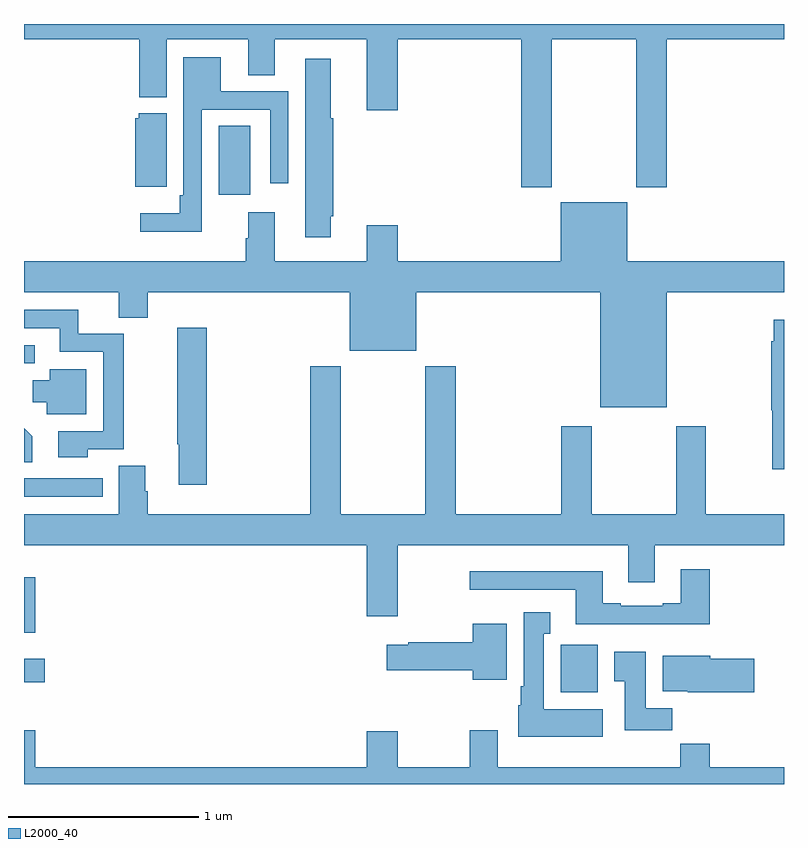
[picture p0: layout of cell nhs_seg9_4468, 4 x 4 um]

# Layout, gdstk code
import gdstk
lib = gdstk.Library(unit=1e-6, precision=1e-09)
def R(c, l, rs):  # rectangles x0, y0, x1, y1
    for r in rs: c.add(gdstk.rectangle(r[:2], r[2:], *l))
def P(c, l, *ps):  # polygons
    for p in ps: c.add(gdstk.Polygon(p, *l))
L2000_40 = (2000, 40)

nhs_seg9_4468 = lib.new_cell('nhs_seg9_4468')
R(nhs_seg9_4468, L2000_40, [(369.825,1192.982,370.021,1193.232), (367,1193.036,367.108,1193.158), (367,1193.297,367.058,1193.587), (367,1194.012,367.414,1194.108), (367,1194.714,367.057,1194.81), (368.024,1195.602,368.191,1195.964)])
P(nhs_seg9_4468, L2000_40, [(369.777,1196.42),(370.222,1196.42),(370.222,1195.641),(370.382,1195.641),(370.382,1196.42),(371,1196.42),(371,1196.5),(367,1196.5),(367,1196.42),(367.607,1196.42),(367.607,1196.114),(367.75,1196.114),(367.75,1196.42),(368.18,1196.42),(368.18,1196.23),(368.32,1196.23),(368.32,1196.42),(368.804,1196.42),(368.804,1196.046),(368.968,1196.046),(368.968,1196.42),(369.617,1196.42),(369.617,1195.641),(369.777,1195.641)],
  [(367.935,1196.049),(368.295,1196.049),(368.295,1195.662),(368.391,1195.662),(368.391,1196.145),(368.035,1196.145),(368.035,1196.326),(367.839,1196.326),(367.839,1195.6),(367.819,1195.6),(367.819,1195.504),(367.611,1195.504),(367.611,1195.406),(367.935,1195.406)],
  [(368.614,1195.489),(368.627,1195.489),(368.627,1196.004),(368.614,1196.004),(368.614,1196.317),(368.48,1196.317),(368.48,1195.377),(368.614,1195.377)],
  [(367.75,1196.029),(367.605,1196.029),(367.605,1196.004),(367.586,1196.004),(367.586,1195.643),(367.75,1195.643)],
  [(370.384,1195.088),(371,1195.088),(371,1195.252),(370.174,1195.252),(370.174,1195.561),(369.824,1195.561),(369.824,1195.252),(368.968,1195.252),(368.968,1195.441),(368.804,1195.441),(368.804,1195.252),(368.32,1195.252),(368.32,1195.51),(368.18,1195.51),(368.18,1195.373),(368.168,1195.373),(368.168,1195.252),(367,1195.252),(367,1195.088),(367.499,1195.088),(367.499,1194.955),(367.652,1194.955),(367.652,1195.088),(368.714,1195.088),(368.714,1194.779),(369.064,1194.779),(369.064,1195.088),(370.034,1195.088),(370.034,1194.482),(370.384,1194.482)],
  [(367.335,1194.261),(367.525,1194.261),(367.525,1194.87),(367.286,1194.87),(367.286,1194.996),(367,1194.996),(367,1194.9),(367.187,1194.9),(367.187,1194.774),(367.416,1194.774),(367.416,1194.357),(367.179,1194.357),(367.179,1194.221),(367.335,1194.221)],
  [(371,1194.943),(370.946,1194.943),(370.946,1194.83),(370.934,1194.83),(370.934,1194.468),(370.939,1194.468),(370.939,1194.156),(371,1194.156)],
  [(367.961,1194.901),(367.807,1194.901),(367.807,1194.287),(367.814,1194.287),(367.814,1194.075),(367.961,1194.075)],
  [(368.968,1193.756),(370.181,1193.756),(370.181,1193.562),(370.321,1193.562),(370.321,1193.756),(371,1193.756),(371,1193.92),(370.587,1193.92),(370.587,1194.382),(370.432,1194.382),(370.432,1193.92),(369.987,1193.92),(369.987,1194.382),(369.827,1194.382),(369.827,1193.92),(369.272,1193.92),(369.272,1194.7),(369.112,1194.7),(369.112,1193.92),(368.667,1193.92),(368.667,1194.7),(368.507,1194.7),(368.507,1193.92),(367.652,1193.92),(367.652,1194.042),(367.639,1194.042),(367.639,1194.176),(367.499,1194.176),(367.499,1193.92),(367,1193.92),(367,1193.756),(368.804,1193.756),(368.804,1193.382),(368.968,1193.382)],
  [(367.327,1194.682),(367.136,1194.682),(367.136,1194.625),(367.046,1194.625),(367.046,1194.509),(367.121,1194.509),(367.121,1194.446),(367.327,1194.446)],
  [(367.043,1194.329),(367,1194.372),(367,1194.193),(367.043,1194.193)],
  [(370.61,1193.629),(370.457,1193.629),(370.457,1193.452),(370.361,1193.452),(370.361,1193.439),(370.141,1193.439),(370.141,1193.452),(370.045,1193.452),(370.045,1193.62),(369.345,1193.62),(369.345,1193.523),(369.905,1193.523),(369.905,1193.342),(370.61,1193.342)],
  [(370.045,1192.894),(369.736,1192.894),(369.736,1193.291),(369.769,1193.291),(369.769,1193.404),(369.629,1193.404),(369.629,1193.014),(369.614,1193.014),(369.614,1192.914),(369.602,1192.914),(369.602,1192.748),(370.045,1192.748)],
  [(369.541,1193.344),(369.362,1193.344),(369.362,1193.246),(369.022,1193.246),(369.022,1193.233),(368.91,1193.233),(368.91,1193.099),(369.362,1193.099),(369.362,1193.048),(369.541,1193.048)],
  [(370.412,1192.9),(370.273,1192.9),(370.273,1193.197),(370.106,1193.197),(370.106,1193.041),(370.163,1193.041),(370.163,1192.782),(370.412,1192.782)],
  [(370.843,1193.159),(370.612,1193.159),(370.612,1193.176),(370.361,1193.176),(370.361,1192.988),(370.494,1192.988),(370.494,1192.982),(370.843,1192.982)],
  [(371,1192.588),(370.61,1192.588),(370.61,1192.712),(370.453,1192.712),(370.453,1192.588),(369.493,1192.588),(369.493,1192.783),(369.346,1192.783),(369.346,1192.588),(368.968,1192.588),(368.968,1192.777),(368.804,1192.777),(368.804,1192.588),(367.058,1192.588),(367.058,1192.783),(367,1192.783),(367,1192.5),(371,1192.5)])

lib.write_gds('nhs_seg9_4468.gds')
